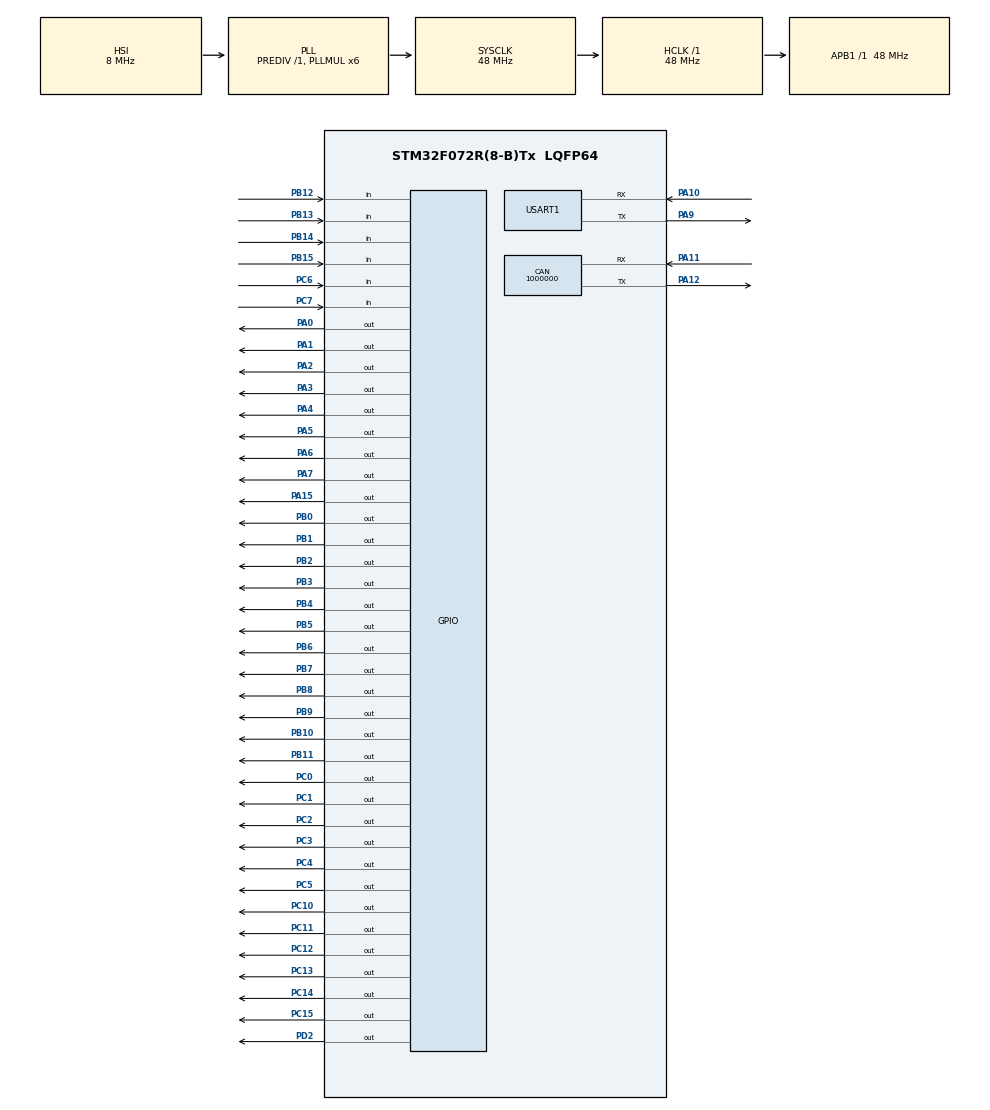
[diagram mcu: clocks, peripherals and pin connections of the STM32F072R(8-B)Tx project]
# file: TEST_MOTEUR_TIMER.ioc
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CAN.AWUM=DISABLE
CAN.BS1=CAN_BS1_1TQ
CAN.BS2=CAN_BS2_1TQ
CAN.CalculateBaudRate=1000000
CAN.CalculateTimeBit=1000
CAN.CalculateTimeQuantum=333.3333333333333
Mcu.Family=STM32F0
Mcu.Name=STM32F072R(8-B)Tx
Mcu.Package=LQFP64
NVIC.CEC_CAN_IRQn=true\:0\:0\:false\:false\:true\:true\:true\:true
NVIC.TIM2_IRQn=true\:0\:0\:false\:false\:true\:true\:true\:true
PA0.Signal=GPIO_Output
PA1.Signal=GPIO_Output
PA10.Mode=Asynchronous
PA10.Signal=USART1_RX
PA11.Mode=CAN_Activate
PA11.Signal=CAN_RX
PA12.Mode=CAN_Activate
PA12.Signal=CAN_TX
PA13.Mode=Serial_Wire
PA13.Signal=SYS_SWDIO
PA14.Mode=Serial_Wire
PA14.Signal=SYS_SWCLK
PA15.Signal=GPIO_Output
PA2.Signal=GPIO_Output
PA3.Signal=GPIO_Output
PA4.Signal=GPIO_Output
PA5.Signal=GPIO_Output
PA6.Signal=GPIO_Output
PA7.Signal=GPIO_Output
PA9.Mode=Asynchronous
PA9.Signal=USART1_TX
PB0.Signal=GPIO_Output
PB1.Signal=GPIO_Output
PB10.Signal=GPIO_Output
PB11.Signal=GPIO_Output
PB12.Signal=GPIO_Input
PB13.Signal=GPIO_Input
PB14.Signal=GPIO_Input
PB15.Signal=GPIO_Input
PB2.Signal=GPIO_Output
PB3.Signal=GPIO_Output
PB4.Signal=GPIO_Output
PB5.Signal=GPIO_Output
PB6.Signal=GPIO_Output
PB7.Signal=GPIO_Output
PB8.Signal=GPIO_Output
PB9.Signal=GPIO_Output
PC0.Signal=GPIO_Output
PC1.Signal=GPIO_Output
PC10.Signal=GPIO_Output
PC11.Signal=GPIO_Output
PC12.Signal=GPIO_Output
PC13.Signal=GPIO_Output
PC14-OSC32_IN.Signal=GPIO_Output
PC15-OSC32_OUT.Signal=GPIO_Output
PC2.Signal=GPIO_Output
PC3.Signal=GPIO_Output
PC4.Signal=GPIO_Output
PC5.Signal=GPIO_Output
PC6.Signal=GPIO_Input
PC7.Signal=GPIO_Input
PD2.Signal=GPIO_Output
ProjectManager.HeapSize=0x200
ProjectManager.StackSize=0x400
ProjectManager.TargetToolchain=STM32CubeIDE
RCC.AHBFreq_Value=48000000
RCC.APB1Freq_Value=48000000
RCC.APB1TimFreq_Value=48000000
RCC.HCLKFreq_Value=48000000
RCC.PLLMUL=RCC_PLL_MUL6
RCC.SYSCLKFreq_VALUE=48000000
RCC.SYSCLKSource=RCC_SYSCLKSOURCE_PLLCLK
TIM2.AutoReloadPreload=TIM_AUTORELOAD_PRELOAD_ENABLE
TIM2.Period=1
TIM2.Prescaler=7200-1
TIM3.AutoReloadPreload=TIM_AUTORELOAD_PRELOAD_DISABLE
TIM3.Prescaler=48000-1
USART1.VirtualMode-Asynchronous=VM_ASYNC
VP_TIM2_VS_ClockSourceINT.Mode=Internal
VP_TIM3_VS_ClockSourceINT.Mode=Internal
board=custom

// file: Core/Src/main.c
/* USER CODE BEGIN Header */
/**
  ******************************************************************************
  * @file           : main.c
  * @brief          : Main program body
  ******************************************************************************
  * @attention
  *
  * Copyright (c) 2023 STMicroelectronics.
  * All rights reserved.
  *
  * This software is licensed under terms that can be found in the LICENSE file
  * in the root directory of this software component.
  * If no LICENSE file comes with this software, it is provided AS-IS.
  *
  ******************************************************************************
  */
/* USER CODE END Header */
#include "main.h"

CAN_HandleTypeDef hcan;

TIM_HandleTypeDef htim2;
TIM_HandleTypeDef htim3;

UART_HandleTypeDef huart1;

void SystemClock_Config(void);
static void MX_GPIO_Init(void);
static void MX_TIM2_Init(void);
static void MX_TIM3_Init(void);
static void MX_CAN_Init(void);
static void MX_USART1_UART_Init(void);

/* USER CODE BEGIN 0 */
#define DELAY 5000

static enum STATE state = START;
static STEPPER stepper[8] = {
		{ON, DOWN, 0, DELAY, {GPIOB, GPIOB, GPIOB, GPIOB},
							{GPIO_PIN_1, GPIO_PIN_2, GPIO_PIN_11, GPIO_PIN_10}},

		{ON, DOWN, 0, DELAY, {GPIOA, GPIOC, GPIOB, GPIOC},
							{GPIO_PIN_7, GPIO_PIN_4, GPIO_PIN_0, GPIO_PIN_5}},

		{ON, DOWN, 0, DELAY, {GPIOA, GPIOA, GPIOA, GPIOA},
							{GPIO_PIN_3, GPIO_PIN_4, GPIO_PIN_6, GPIO_PIN_5}},

		{ON, DOWN, 0, DELAY, {GPIOC, GPIOA, GPIOA, GPIOA},
							{GPIO_PIN_3, GPIO_PIN_0, GPIO_PIN_2, GPIO_PIN_1}},

		{ON, DOWN, 0, DELAY, {GPIOC, GPIOC, GPIOC, GPIOC},
							{GPIO_PIN_13, GPIO_PIN_14, GPIO_PIN_0, GPIO_PIN_15}},

		{ON, DOWN, 0, DELAY, {GPIOB, GPIOB, GPIOB, GPIOB},
							{GPIO_PIN_6, GPIO_PIN_7, GPIO_PIN_9, GPIO_PIN_8}},

		{ON, DOWN, 0, DELAY, {GPIOD, GPIOB, GPIOB, GPIOB},
							{GPIO_PIN_2, GPIO_PIN_3, GPIO_PIN_5, GPIO_PIN_4}},

		{ON, DOWN, 0, DELAY, {GPIOA, GPIOC, GPIOC, GPIOC},
							{GPIO_PIN_15, GPIO_PIN_10, GPIO_PIN_12, GPIO_PIN_11}}
};
/* USER CODE END 0 */

int main(void)
{

  /* MCU Configuration--------------------------------------------------------*/

  /* Reset of all peripherals, Initializes the Flash interface and the Systick. */
  HAL_Init();

  /* Configure the system clock */
  SystemClock_Config();

  /* Initialize all configured peripherals */
  MX_GPIO_Init();
  MX_TIM2_Init();
  MX_TIM3_Init();
  MX_CAN_Init();
  MX_USART1_UART_Init();
  /* USER CODE BEGIN 2 */

  SystemClock_Config();
  HAL_CAN_ActivateNotification(&hcan, CAN_IT_RX_FIFO0_MSG_PENDING);

  /* USER CODE END 2 */

  /* Infinite loop */
  while (1) {

    /* USER CODE BEGIN 3 */
	  automate();
  }
  /* USER CODE END 3 */
}

void SystemClock_Config(void)
{
  RCC_OscInitTypeDef RCC_OscInitStruct = {0};
  RCC_ClkInitTypeDef RCC_ClkInitStruct = {0};
  RCC_PeriphCLKInitTypeDef PeriphClkInit = {0};

  /** Initializes the RCC Oscillators according to the specified parameters
  * in the RCC_OscInitTypeDef structure.
  */
  RCC_OscInitStruct.OscillatorType = RCC_OSCILLATORTYPE_HSI;
  RCC_OscInitStruct.HSIState = RCC_HSI_ON;
  RCC_OscInitStruct.HSICalibrationValue = RCC_HSICALIBRATION_DEFAULT;
  RCC_OscInitStruct.PLL.PLLState = RCC_PLL_ON;
  RCC_OscInitStruct.PLL.PLLSource = RCC_PLLSOURCE_HSI;
  RCC_OscInitStruct.PLL.PLLMUL = RCC_PLL_MUL6;
  RCC_OscInitStruct.PLL.PREDIV = RCC_PREDIV_DIV1;
  if (HAL_RCC_OscConfig(&RCC_OscInitStruct) != HAL_OK)
  {
    Error_Handler();
  }

  /** Initializes the CPU, AHB and APB buses clocks
  */
  RCC_ClkInitStruct.ClockType = RCC_CLOCKTYPE_HCLK|RCC_CLOCKTYPE_SYSCLK
                              |RCC_CLOCKTYPE_PCLK1;
  RCC_ClkInitStruct.SYSCLKSource = RCC_SYSCLKSOURCE_PLLCLK;
  RCC_ClkInitStruct.AHBCLKDivider = RCC_SYSCLK_DIV1;
  RCC_ClkInitStruct.APB1CLKDivider = RCC_HCLK_DIV1;

  if (HAL_RCC_ClockConfig(&RCC_ClkInitStruct, FLASH_LATENCY_1) != HAL_OK)
  {
    Error_Handler();
  }
  PeriphClkInit.PeriphClockSelection = RCC_PERIPHCLK_USART1;
  PeriphClkInit.Usart1ClockSelection = RCC_USART1CLKSOURCE_PCLK1;
  if (HAL_RCCEx_PeriphCLKConfig(&PeriphClkInit) != HAL_OK)
  {
    Error_Handler();
  }
}

static void MX_CAN_Init(void)
{

  hcan.Instance = CAN;
  hcan.Init.Prescaler = 16;
  hcan.Init.Mode = CAN_MODE_NORMAL;
  hcan.Init.SyncJumpWidth = CAN_SJW_1TQ;
  hcan.Init.TimeSeg1 = CAN_BS1_1TQ;
  hcan.Init.TimeSeg2 = CAN_BS2_1TQ;
  hcan.Init.TimeTriggeredMode = DISABLE;
  hcan.Init.AutoBusOff = DISABLE;
  hcan.Init.AutoWakeUp = DISABLE;
  hcan.Init.AutoRetransmission = DISABLE;
  hcan.Init.ReceiveFifoLocked = DISABLE;
  hcan.Init.TransmitFifoPriority = DISABLE;
  if (HAL_CAN_Init(&hcan) != HAL_OK)
  {
    Error_Handler();
  }

}

static void MX_TIM2_Init(void)
{

  TIM_ClockConfigTypeDef sClockSourceConfig = {0};
  TIM_MasterConfigTypeDef sMasterConfig = {0};

  htim2.Instance = TIM2;
  htim2.Init.Prescaler = 7200-1;
  htim2.Init.CounterMode = TIM_COUNTERMODE_UP;
  htim2.Init.Period = 1;
  htim2.Init.ClockDivision = TIM_CLOCKDIVISION_DIV1;
  htim2.Init.AutoReloadPreload = TIM_AUTORELOAD_PRELOAD_ENABLE;
  if (HAL_TIM_Base_Init(&htim2) != HAL_OK)
  {
    Error_Handler();
  }
  sClockSourceConfig.ClockSource = TIM_CLOCKSOURCE_INTERNAL;
  if (HAL_TIM_ConfigClockSource(&htim2, &sClockSourceConfig) != HAL_OK)
  {
    Error_Handler();
  }
  sMasterConfig.MasterOutputTrigger = TIM_TRGO_RESET;
  sMasterConfig.MasterSlaveMode = TIM_MASTERSLAVEMODE_DISABLE;
  if (HAL_TIMEx_MasterConfigSynchronization(&htim2, &sMasterConfig) != HAL_OK)
  {
    Error_Handler();
  }

}

static void MX_TIM3_Init(void)
{

  TIM_ClockConfigTypeDef sClockSourceConfig = {0};
  TIM_MasterConfigTypeDef sMasterConfig = {0};

  htim3.Instance = TIM3;
  htim3.Init.Prescaler = 48000-1;
  htim3.Init.CounterMode = TIM_COUNTERMODE_UP;
  htim3.Init.Period = 65535;
  htim3.Init.ClockDivision = TIM_CLOCKDIVISION_DIV1;
  htim3.Init.AutoReloadPreload = TIM_AUTORELOAD_PRELOAD_DISABLE;
  if (HAL_TIM_Base_Init(&htim3) != HAL_OK)
  {
    Error_Handler();
  }
  sClockSourceConfig.ClockSource = TIM_CLOCKSOURCE_INTERNAL;
  if (HAL_TIM_ConfigClockSource(&htim3, &sClockSourceConfig) != HAL_OK)
  {
    Error_Handler();
  }
  sMasterConfig.MasterOutputTrigger = TIM_TRGO_RESET;
  sMasterConfig.MasterSlaveMode = TIM_MASTERSLAVEMODE_DISABLE;
  if (HAL_TIMEx_MasterConfigSynchronization(&htim3, &sMasterConfig) != HAL_OK)
  {
    Error_Handler();
  }

}

static void MX_USART1_UART_Init(void)
{

  huart1.Instance = USART1;
  huart1.Init.BaudRate = 38400;
  huart1.Init.WordLength = UART_WORDLENGTH_8B;
  huart1.Init.StopBits = UART_STOPBITS_1;
  huart1.Init.Parity = UART_PARITY_NONE;
  huart1.Init.Mode = UART_MODE_TX_RX;
  huart1.Init.HwFlowCtl = UART_HWCONTROL_NONE;
  huart1.Init.OverSampling = UART_OVERSAMPLING_16;
  huart1.Init.OneBitSampling = UART_ONE_BIT_SAMPLE_DISABLE;
  huart1.AdvancedInit.AdvFeatureInit = UART_ADVFEATURE_NO_INIT;
  if (HAL_UART_Init(&huart1) != HAL_OK)
  {
    Error_Handler();
  }

}

static void MX_GPIO_Init(void)
{
  GPIO_InitTypeDef GPIO_InitStruct = {0};

  /* GPIO Ports Clock Enable */
  __HAL_RCC_GPIOC_CLK_ENABLE();
  __HAL_RCC_GPIOA_CLK_ENABLE();
  __HAL_RCC_GPIOB_CLK_ENABLE();
  __HAL_RCC_GPIOD_CLK_ENABLE();

  /*Configure GPIO pin Output Level */
  HAL_GPIO_WritePin(GPIOC, GPIO_PIN_13|GPIO_PIN_14|GPIO_PIN_15|GPIO_PIN_0
                          |GPIO_PIN_1|GPIO_PIN_2|GPIO_PIN_3|GPIO_PIN_4
                          |GPIO_PIN_5|GPIO_PIN_10|GPIO_PIN_11|GPIO_PIN_12, GPIO_PIN_RESET);

  /*Configure GPIO pin Output Level */
  HAL_GPIO_WritePin(GPIOA, GPIO_PIN_0|GPIO_PIN_1|GPIO_PIN_2|GPIO_PIN_3
                          |GPIO_PIN_4|GPIO_PIN_5|GPIO_PIN_6|GPIO_PIN_7
                          |GPIO_PIN_15, GPIO_PIN_RESET);

  /*Configure GPIO pin Output Level */
  HAL_GPIO_WritePin(GPIOB, GPIO_PIN_0|GPIO_PIN_1|GPIO_PIN_2|GPIO_PIN_10
                          |GPIO_PIN_11|GPIO_PIN_3|GPIO_PIN_4|GPIO_PIN_5
                          |GPIO_PIN_6|GPIO_PIN_7|GPIO_PIN_8|GPIO_PIN_9, GPIO_PIN_RESET);

  /*Configure GPIO pin Output Level */
  HAL_GPIO_WritePin(GPIOD, GPIO_PIN_2, GPIO_PIN_RESET);

  /*Configure GPIO pins : PC13 PC14 PC15 PC0
                           PC1 PC2 PC3 PC4
                           PC5 PC10 PC11 PC12 */
  GPIO_InitStruct.Pin = GPIO_PIN_13|GPIO_PIN_14|GPIO_PIN_15|GPIO_PIN_0
                          |GPIO_PIN_1|GPIO_PIN_2|GPIO_PIN_3|GPIO_PIN_4
                          |GPIO_PIN_5|GPIO_PIN_10|GPIO_PIN_11|GPIO_PIN_12;
  GPIO_InitStruct.Mode = GPIO_MODE_OUTPUT_PP;
  GPIO_InitStruct.Pull = GPIO_NOPULL;
  GPIO_InitStruct.Speed = GPIO_SPEED_FREQ_LOW;
  HAL_GPIO_Init(GPIOC, &GPIO_InitStruct);

  /*Configure GPIO pins : PA0 PA1 PA2 PA3
                           PA4 PA5 PA6 PA7
                           PA15 */
  GPIO_InitStruct.Pin = GPIO_PIN_0|GPIO_PIN_1|GPIO_PIN_2|GPIO_PIN_3
                          |GPIO_PIN_4|GPIO_PIN_5|GPIO_PIN_6|GPIO_PIN_7
                          |GPIO_PIN_15;
  GPIO_InitStruct.Mode = GPIO_MODE_OUTPUT_PP;
  GPIO_InitStruct.Pull = GPIO_NOPULL;
  GPIO_InitStruct.Speed = GPIO_SPEED_FREQ_LOW;
  HAL_GPIO_Init(GPIOA, &GPIO_InitStruct);

  /*Configure GPIO pins : PB0 PB1 PB2 PB10
                           PB11 PB3 PB4 PB5
                           PB6 PB7 PB8 PB9 */
  GPIO_InitStruct.Pin = GPIO_PIN_0|GPIO_PIN_1|GPIO_PIN_2|GPIO_PIN_10
                          |GPIO_PIN_11|GPIO_PIN_3|GPIO_PIN_4|GPIO_PIN_5
                          |GPIO_PIN_6|GPIO_PIN_7|GPIO_PIN_8|GPIO_PIN_9;
  GPIO_InitStruct.Mode = GPIO_MODE_OUTPUT_PP;
  GPIO_InitStruct.Pull = GPIO_NOPULL;
  GPIO_InitStruct.Speed = GPIO_SPEED_FREQ_LOW;
  HAL_GPIO_Init(GPIOB, &GPIO_InitStruct);

  /*Configure GPIO pins : PB12 PB13 PB14 PB15 */
  GPIO_InitStruct.Pin = GPIO_PIN_12|GPIO_PIN_13|GPIO_PIN_14|GPIO_PIN_15;
  GPIO_InitStruct.Mode = GPIO_MODE_INPUT;
  GPIO_InitStruct.Pull = GPIO_NOPULL;
  HAL_GPIO_Init(GPIOB, &GPIO_InitStruct);

  /*Configure GPIO pins : PC6 PC7 */
  GPIO_InitStruct.Pin = GPIO_PIN_6|GPIO_PIN_7;
  GPIO_InitStruct.Mode = GPIO_MODE_INPUT;
  GPIO_InitStruct.Pull = GPIO_NOPULL;
  HAL_GPIO_Init(GPIOC, &GPIO_InitStruct);

  /*Configure GPIO pin : PD2 */
  GPIO_InitStruct.Pin = GPIO_PIN_2;
  GPIO_InitStruct.Mode = GPIO_MODE_OUTPUT_PP;
  GPIO_InitStruct.Pull = GPIO_NOPULL;
  GPIO_InitStruct.Speed = GPIO_SPEED_FREQ_LOW;
  HAL_GPIO_Init(GPIOD, &GPIO_InitStruct);

}

/* USER CODE BEGIN 4 */
void automate() {
	switch(state) {
		case START:
			setStepperSens(DOWN);
			state = BEGIN_MOVEMENT;
			break;
		case BEGIN_MOVEMENT:
				setStepperOnOff(ON);
				__HAL_TIM_SetCounter(&htim3, 0);
				state = TRANSITION;
				break;
		case TRANSITION: //TODO should wait for longest stepper timer
			HAL_TIM_Base_Start_IT(&htim2);
			HAL_TIM_Base_Start_IT(&htim3);
			break;
		case IDLE: //TODO start CAN IT when interrupt move to COMM
			HAL_TIM_Base_Stop_IT(&htim2);
			HAL_TIM_Base_Stop_IT(&htim3);
			setStepperOnOff(OFF);
			break;
		case COMM: //TODO get all informations then go to begin movement
			state = IDLE;
			break;
	}
}

void HAL_TIM_PeriodElapsedCallback(TIM_HandleTypeDef* htim) {
	if(htim->Instance==TIM2) {
		Motor_Handling();
	}
}

void rotate(int step, int nb_motor) {
	switch(step) {
	case 0:
		 HAL_GPIO_WritePin(stepper[nb_motor].pin[0], stepper[nb_motor].pin_nb[0], GPIO_PIN_RESET);   // IN1
		 HAL_GPIO_WritePin(stepper[nb_motor].pin[1], stepper[nb_motor].pin_nb[1], GPIO_PIN_SET);   // IN2
		 HAL_GPIO_WritePin(stepper[nb_motor].pin[2], stepper[nb_motor].pin_nb[2], GPIO_PIN_SET);   // IN3
		 HAL_GPIO_WritePin(stepper[nb_motor].pin[3], stepper[nb_motor].pin_nb[3], GPIO_PIN_RESET);   // IN4
		break;
	case 1:
		 HAL_GPIO_WritePin(stepper[nb_motor].pin[0], stepper[nb_motor].pin_nb[0], GPIO_PIN_RESET);   // IN1
		 HAL_GPIO_WritePin(stepper[nb_motor].pin[1], stepper[nb_motor].pin_nb[1], GPIO_PIN_SET);   // IN2
		 HAL_GPIO_WritePin(stepper[nb_motor].pin[2], stepper[nb_motor].pin_nb[2], GPIO_PIN_RESET);   // IN3
		 HAL_GPIO_WritePin(stepper[nb_motor].pin[3], stepper[nb_motor].pin_nb[3], GPIO_PIN_SET);   // IN4
		break;
	case 2:
		 HAL_GPIO_WritePin(stepper[nb_motor].pin[0], stepper[nb_motor].pin_nb[0], GPIO_PIN_SET);   // IN1
		 HAL_GPIO_WritePin(stepper[nb_motor].pin[1], stepper[nb_motor].pin_nb[1], GPIO_PIN_RESET);   // IN2
		 HAL_GPIO_WritePin(stepper[nb_motor].pin[2], stepper[nb_motor].pin_nb[2], GPIO_PIN_RESET);   // IN3
		 HAL_GPIO_WritePin(stepper[nb_motor].pin[3], stepper[nb_motor].pin_nb[3], GPIO_PIN_SET);   // IN4
		break;
	case 3:
		 HAL_GPIO_WritePin(stepper[nb_motor].pin[0], stepper[nb_motor].pin_nb[0], GPIO_PIN_SET);   // IN1
		 HAL_GPIO_WritePin(stepper[nb_motor].pin[1], stepper[nb_motor].pin_nb[1], GPIO_PIN_RESET);   // IN2
		 HAL_GPIO_WritePin(stepper[nb_motor].pin[2], stepper[nb_motor].pin_nb[2], GPIO_PIN_SET);   // IN3
		 HAL_GPIO_WritePin(stepper[nb_motor].pin[3], stepper[nb_motor].pin_nb[3], GPIO_PIN_RESET);   // IN4
		break;
	}
}

void Motor_Handling() {
	static int nb_motor=0;

	uint16_t timer2 = __HAL_TIM_GetCounter(&htim3);
	if(timer2 >= stepper[nb_motor].timer) {
			stepper[nb_motor].state = OFF;
	} else {
		if(stepper[nb_motor].state == ON) { //skip step if nb_motor is OFF
			if(stepper[nb_motor].way == DOWN) { //change order (3->0 / 0->3) of steps to correspond to wanted direction
				rotate(stepper[nb_motor].step, nb_motor);
				if(stepper[nb_motor].step>=3) stepper[nb_motor].step = 0;
				else stepper[nb_motor].step++;
			} else if(stepper[nb_motor].way == UP){
				rotate(stepper[nb_motor].step, nb_motor);
				if(stepper[nb_motor].step<=0) stepper[nb_motor].step = 3;
				else stepper[nb_motor].step--;
			}
		}
	}

	nb_motor++;
	if(nb_motor >=8) nb_motor=0;
}

//Put every motor in the same direction
void setStepperSens(enum SENS s) {
	for(int j; j<8; j++) {
		stepper[j].way = s;
	}
}

//Put every motor in the same state
void setStepperOnOff(enum ONOFF o) {
	for(int j; j<8; j++) {
		stepper[j].state = o;
	}
}

/* USER CODE END 4 */

void Error_Handler(void)
{
  __disable_irq();
  while (1)
  {
  }
}
